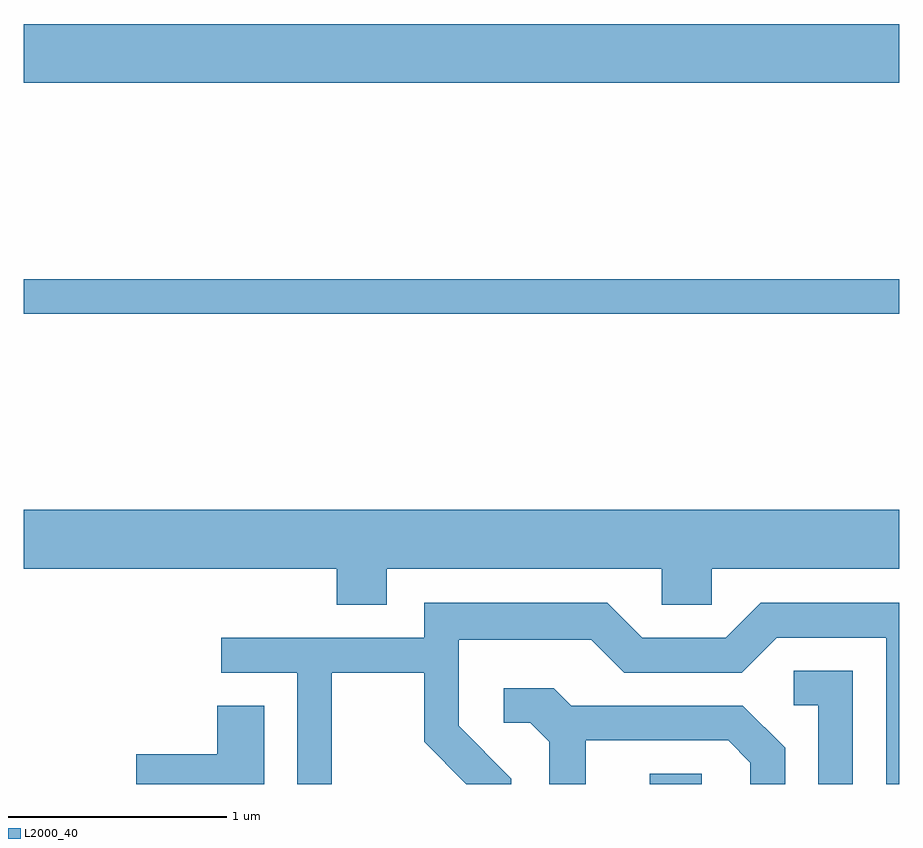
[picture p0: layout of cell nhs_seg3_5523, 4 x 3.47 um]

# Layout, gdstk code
import gdstk
lib = gdstk.Library(unit=1e-6, precision=1e-09)
def R(c, l, rs):  # rectangles x0, y0, x1, y1
    for r in rs: c.add(gdstk.rectangle(r[:2], r[2:], *l))
def P(c, l, *ps):  # polygons
    for p in ps: c.add(gdstk.Polygon(p, *l))
L2000_40 = (2000, 40)

nhs_seg3_5523 = lib.new_cell('nhs_seg3_5523')
R(nhs_seg3_5523, L2000_40, [(350.471,1153.892,350.709,1153.939), (347.611,1156.041,351.611,1156.199), (347.611,1157.096,351.611,1157.364)])
P(nhs_seg3_5523, L2000_40, [(349.269,1154.876),(350.526,1154.876),(350.526,1154.711),(350.754,1154.711),(350.754,1154.876),(351.611,1154.876),(351.611,1155.144),(347.611,1155.144),(347.611,1154.876),(349.041,1154.876),(349.041,1154.711),(349.269,1154.711)],
  [(349.019,1154.401),(349.441,1154.401),(349.441,1154.084),(349.633,1153.892),(349.839,1153.892),(349.839,1153.917),(349.599,1154.157),(349.599,1154.551),(350.204,1154.551),(350.354,1154.401),(350.892,1154.401),(351.052,1154.561),(351.551,1154.561),(351.551,1153.892),(351.611,1153.892),(351.611,1154.719),(350.979,1154.719),(350.819,1154.559),(350.437,1154.559),(350.277,1154.719),(349.441,1154.719),(349.441,1154.559),(348.513,1154.559),(348.513,1154.401),(348.861,1154.401),(348.861,1153.892),(349.019,1153.892)],
  [(351.399,1154.409),(351.128,1154.409),(351.128,1154.251),(351.241,1154.251),(351.241,1153.892),(351.399,1153.892)],
  [(350.179,1154.091),(350.829,1154.091),(350.931,1153.989),(350.931,1153.892),(351.089,1153.892),(351.089,1154.057),(350.897,1154.249),(350.112,1154.249),(350.032,1154.329),(349.803,1154.329),(349.803,1154.171),(349.924,1154.171),(350.011,1154.084),(350.011,1153.892),(350.179,1153.892)],
  [(348.709,1154.249),(348.496,1154.249),(348.496,1154.029),(348.126,1154.029),(348.126,1153.892),(348.709,1153.892)])

lib.write_gds('nhs_seg3_5523.gds')
